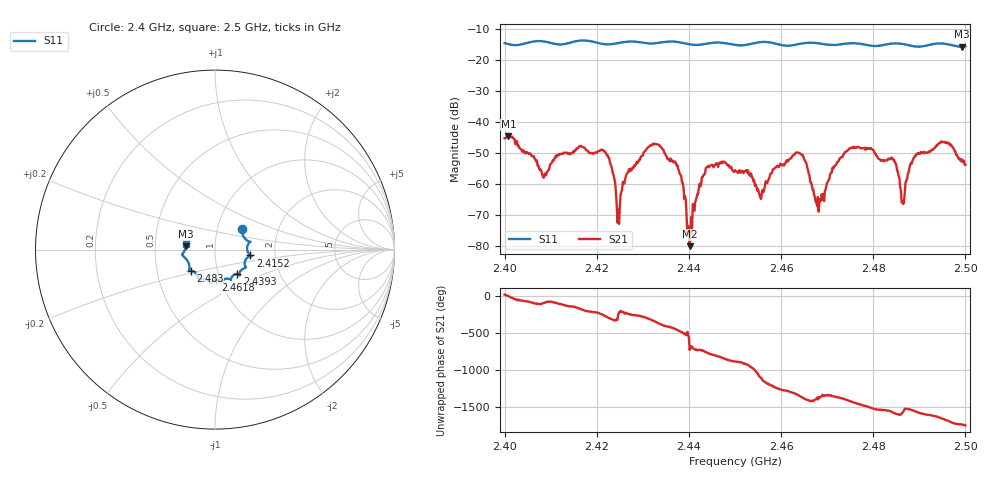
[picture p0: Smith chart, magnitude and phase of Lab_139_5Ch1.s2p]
# Hz S RI R 50
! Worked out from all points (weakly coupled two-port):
!   601 points, 2.4 GHz to 2.5 GHz, reference 50 ohm
!   highest |S21| = -44.53 dB at 2.4008 GHz (marker M1); lowest = -80.0 dB at 2.4402 GHz (marker M2)
!   lowest |S11| = -15.7 dB at 2.4992 GHz (marker M3), VSWR 1.39, Z = 36 + j1.33 ohm
!   |S11| at or under -10 dB: start of sweep to end of sweep
!   S12 and S22 are empty: the file has one direction only
!   S11 on the Smith chart (normalised r, x): 2.4 GHz: 1.31, +0.31; 2.4152 GHz: 1.48, -0.10; 2.4393 GHz: 1.23, -0.35; 2.4618 GHz: 0.95, -0.34; 2.483 GHz: 0.74, -0.18; 2.5 GHz: 0.72, +0.05
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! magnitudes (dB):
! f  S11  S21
! 2.4 GHz  -14.5  -45.2
! 2.4008 GHz  -14.8  -44.5
! 2.4085 GHz  -14.0  -57.9
! 2.4152 GHz  -14.0  -49.5
! 2.4167 GHz  -13.7  -47.8
! 2.4222 GHz  -14.9  -50.7
! 2.4247 GHz  -14.5  -68.0
! 2.4333 GHz  -14.4  -47.3
! 2.4393 GHz  -14.7  -65.3
! 2.4402 GHz  -14.9  -80.0
! 2.4442 GHz  -14.6  -54.2
! 2.45 GHz  -15.1  -55.5
! 2.4557 GHz  -14.2  -64.8
! 2.4618 GHz  -15.3  -52.0
! 2.4667 GHz  -14.4  -60.3
! 2.4753 GHz  -14.6  -48.2
! 2.483 GHz  -14.9  -52.4
! 2.4833 GHz  -14.8  -51.8
! 2.4863 GHz  -14.8  -65.7
! 2.4898 GHz  -15.7  -50.1
! 2.4992 GHz  -15.7  -52.0
! 2.5 GHz  -15.6  -53.8
